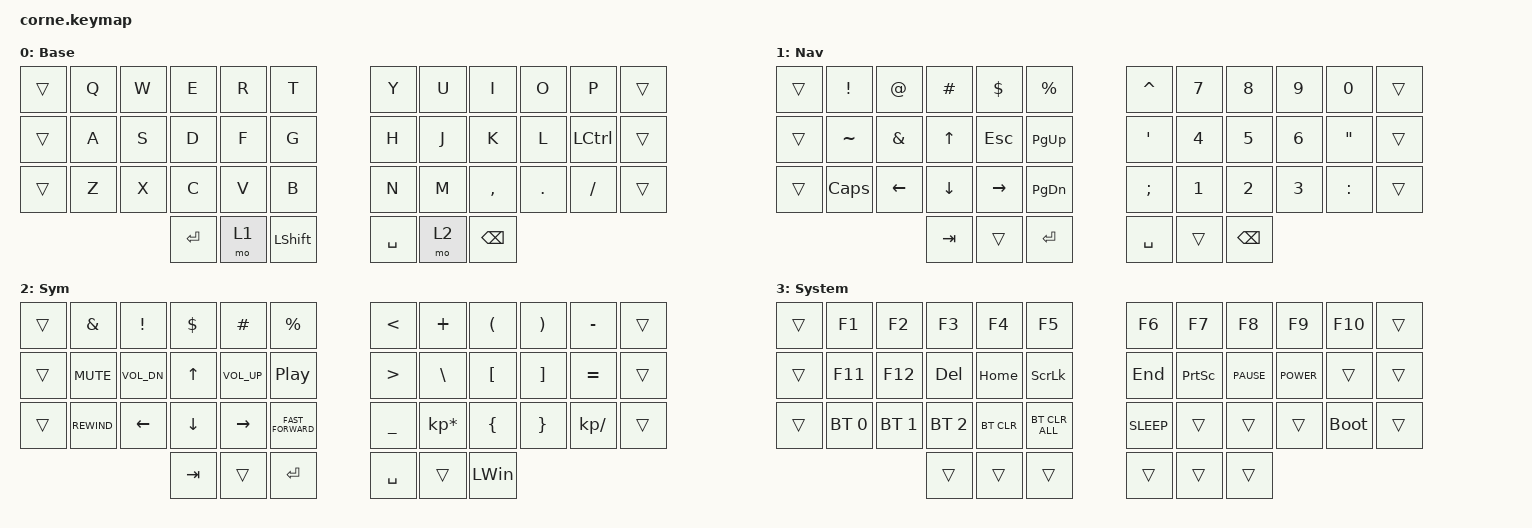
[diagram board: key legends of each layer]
#include <behaviors.dtsi>
#include <dt-bindings/zmk/bt.h>
#include <dt-bindings/zmk/keys.h>

#define DEF 0
#define NAV 1
#define SYM 2
#define ADJ 3

/ {
    behaviors {
        hm: homerow_mods {
            compatible = "zmk,behavior-hold-tap";
            label = "HOMEROW_MODS";
            #binding-cells = <2>;
            tapping-term-ms = <200>;
            quick_tap_ms = <0>;
            flavor = "tap-preferred";
            bindings = <&kp>, <&kp>;

            quick-tap-ms = <180>;
            global-quick-tap;
        };

        para: para {
            compatible = "zmk,behavior-tap-dance";
            label = "PARA";
            #binding-cells = <0>;
            bindings = <&kp LEFT_PARENTHESIS>, <&kp RIGHT_PARENTHESIS>;
        };

        caps: caps {
            compatible = "zmk,behavior-caps-word";
            label = "CAPS";
            #binding-cells = <0>;
            continue-list = <MINUS BACKSPACE>;
        };

        paraless: paraless {
            compatible = "zmk,behavior-mod-morph";
            label = "PARALESS";
            bindings = <&kp LEFT_PARENTHESIS>, <&kp LESS_THAN>;

            #binding-cells = <0>;
            mods = <(MOD_LSFT)>;
        };

        paragreat: paragreat {
            compatible = "zmk,behavior-mod-morph";
            label = "PARAGREAT";
            bindings = <&kp RIGHT_PARENTHESIS>, <&kp GREATER_THAN>;

            #binding-cells = <0>;
            mods = <(MOD_LSFT)>;
        };
    };

    macros {
        browsertab: browsertab {
            compatible = "zmk,behavior-macro";
            #binding-cells = <0>;
            bindings =
                <&macro_press>,
                <&kp LCTRL>,
                <&macro_tap>,
                <&kp TAB>,
                <&macro_release>,
                <&kp LCTRL>;
        };
    };

    combos { compatible = "zmk,combos"; };

    //

    keymap {
        compatible = "zmk,keymap";

        DEF {
            display-name = "Base";

            // -----------------------------------------------------------------------------------------
            // |  Q  |  W  |  E  |  R  |  T  |   |  Y  |  U   |  I  |  O  |  P  |
            // |  A  |  S  |  D  |  F  |  G  |   |  H  |  J   |  K  |  L  |  ;  |
            // |  Z  |  X  |  C  |  V  |  B  |   |  N  |  M   |  ,  |  .  |  /  |
            // | GUI | CTRL | SHFT | LWR | SPC |   | ENT | RSE  | BKSP | ALT | ESC |

            bindings = <
&trans  &kp Q  &kp W  &kp E    &kp R  &kp T             &kp Y      &kp U  &kp I          &kp O    &kp P      &trans
&trans  &kp A  &kp S  &kp D    &kp F  &kp G             &kp H      &kp J  &kp K          &kp L    &kp LCTRL  &trans
&trans  &kp Z  &kp X  &kp C    &kp V  &kp B             &kp N      &kp M  &kp COMMA      &kp DOT  &kp FSLH   &trans
                      &kp RET  &mo 1  &kp LEFT_SHIFT    &kp SPACE  &mo 2  &kp BACKSPACE
            >;
        };

        NAV {
            display-name = "Nav";

            // -----------------------------------------------------------------------------------------
            // |  TAB |  1  |  2  |  3  |  4  |  5  |   |  6  |  7  |  8  |  9  |  0  | BKSP |
            // | BTCLR| BT1 | BT2 | BT3 | BT4 | BT5 |   | LFT | DWN |  UP | RGT |     |      |
            // | SHFT |     |     |     |     |     |   |     |     |     |     |     |      |
            // | GUI | CTRL | SHFT | LWR | SPC |   | ENT | RSE  | BKSP | ALT | ESC |

            bindings = <
&trans  &kp EXCL   &kp AT    &kp POUND     &kp DOLLAR       &kp PERCENT      &kp CARET         &kp N7  &kp N8         &kp N9  &kp N0             &trans
&trans  &kp TILDE  &kp AMPS  &kp UP_ARROW  &kp ESCAPE       &kp PAGE_UP      &kp SINGLE_QUOTE  &kp N4  &kp N5         &kp N6  &kp DOUBLE_QUOTES  &trans
&trans  &kp CAPS   &kp LEFT  &kp DOWN      &kp RIGHT_ARROW  &kp PAGE_DOWN    &kp SEMI          &kp N1  &kp N2         &kp N3  &kp COLON          &trans
                             &kp TAB       &trans           &kp RET          &kp SPACE         &trans  &kp BACKSPACE
            >;
        };

        SYM {
            display-name = "Sym";

            // -----------------------------------------------------------------------------------------
            // |  TAB |  !  |  @  |  #  |  $  |  %  |   |  ^  |  &  |  *  |  (  |  )  | BKSP |
            // | CTRL |     |     |     |     |     |   |  -  |  =  |  [  |  ]  |  \  |  `   |
            // | SHFT |     |     |     |     |     |   |  _  |  +  |  {  |  }  | "|" |  ~   |
            //                    | GUI |     | SPC |   | ENT |     | ALT |

            bindings = <
&trans  &kp AMPS      &kp EXCL        &kp DOLLAR      &kp POUND        &kp PRCNT             &kp LESS_THAN     &kp PLUS         &kp LEFT_PARENTHESIS  &kp RIGHT_PARENTHESIS  &kp MINUS      &trans
&trans  &kp C_MUTE    &kp C_VOL_DN    &kp UP_ARROW    &kp C_VOLUME_UP  &kp C_PLAY_PAUSE      &kp GREATER_THAN  &kp BACKSLASH    &kp LBKT              &kp RBKT               &kp EQUAL      &trans
&trans  &kp C_REWIND  &kp LEFT_ARROW  &kp DOWN_ARROW  &kp RIGHT_ARROW  &kp C_FAST_FORWARD    &kp UNDER         &kp KP_MULTIPLY  &kp LBRC              &kp RBRC               &kp KP_DIVIDE  &trans
                                      &kp TAB         &trans           &kp RET               &kp SPACE         &trans           &kp LEFT_WIN
            >;
        };

        ADJ {
            display-name = "System";
            bindings = <
&trans  &kp F1        &kp F2        &kp F3        &kp F4      &kp F5            &kp F6       &kp F7           &kp F8       &kp F9       &kp F10      &trans
&trans  &kp F11       &kp F12       &kp DELETE    &kp HOME    &kp SCROLLLOCK    &kp END      &kp PRINTSCREEN  &kp C_PAUSE  &kp K_POWER  &trans       &trans
&trans  &bt BT_SEL 0  &bt BT_SEL 1  &bt BT_SEL 2  &bt BT_CLR  &bt BT_CLR_ALL    &kp K_SLEEP  &trans           &trans       &trans       &bootloader  &trans
                                    &trans        &trans      &trans            &trans       &trans           &trans
            >;
        };
    };

    conditional_layers {
        compatible = "zmk,conditional-layers";

        l3 {
            if-layers = <1 2>;
            then-layer = <3>;
        };
    };
};
